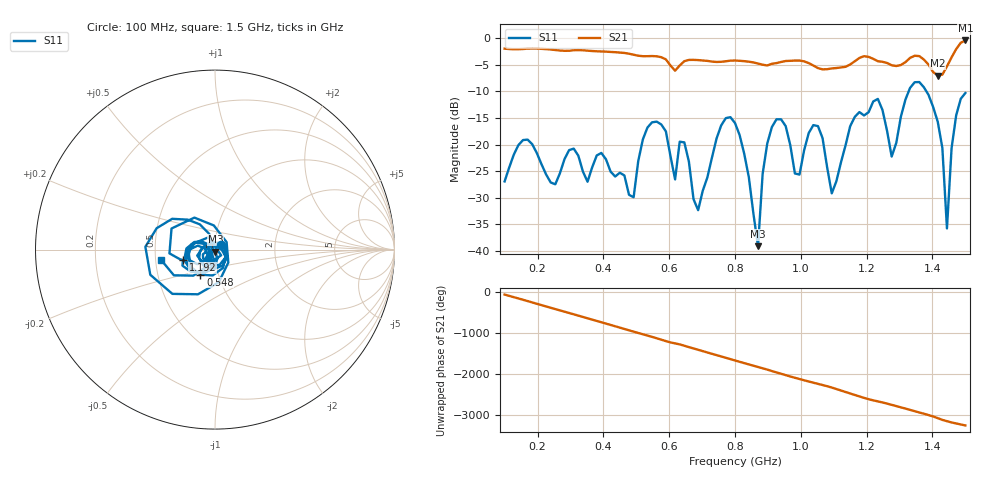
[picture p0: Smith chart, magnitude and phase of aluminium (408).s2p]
! NanoVNA-App
! Date: 2025-09-25 14:58:27
! Start: 100MHz Stop: 1,5GHz Points: 101
! S-Parameter data: F S11 S21 S12 S22
# Hz S RI R 50
!  Frequency  S11_Real  S11_Imag  S21_Real  S21_Imag  S12_Real  S12_Imag  S22_Real  S22_Imag
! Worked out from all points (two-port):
!   101 points, 100 MHz to 1.5 GHz, reference 50 ohm
!   highest |S21| = -0.37 dB at 1.5 GHz (marker M1); lowest = -7.0 dB at 1.416 GHz (marker M2)
!   |S21| within 3 dB of the highest: start of sweep to 563.2 MHz; 1.46 GHz to end of sweep (the widest 2 of 4)
!   lowest |S11| = -39.2 dB at 870 MHz (marker M3), VSWR 1.02, Z = 50.2 - j1.08 ohm
!   |S11| at or under -10 dB: start of sweep to 1.328 GHz; 1.382 GHz to end of sweep
!   S12 and S22 are empty: the file has one direction only
!   S11 on the Smith chart (normalised r, x): 100 MHz: 1.07, +0.06; 548 MHz: 0.82, -0.24; 1.192 GHz: 0.69, -0.08; 1.5 GHz: 0.53, -0.07
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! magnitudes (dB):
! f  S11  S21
! 100 MHz  -27.0  -1.9
! 156 MHz  -19.2  -2.0
! 338 MHz  -25.1  -2.2
! 492 MHz  -29.9  -3.1
! 548 MHz  -15.8  -3.3
! 576 MHz  -16.2  -3.5
! 646 MHz  -19.6  -4.3
! 688 MHz  -32.4  -4.1
! 800 MHz  -15.9  -4.2
! 870 MHz  -39.2  -4.7
! 912 MHz  -16.7  -4.8
! 996 MHz  -25.7  -4.2
! 1.038 GHz  -16.3  -5.1
! 1.094 GHz  -29.2  -5.7
! 1.192 GHz  -14.5  -3.3
! 1.234 GHz  -11.4  -4.3
! 1.276 GHz  -22.3  -5.1
! 1.346 GHz  -8.2  -3.3
! 1.416 GHz  -15.7  -7.0
! 1.444 GHz  -35.8  -5.3
! 1.458 GHz  -20.7  -3.6
! 1.5 GHz  -10.3  -0.4
